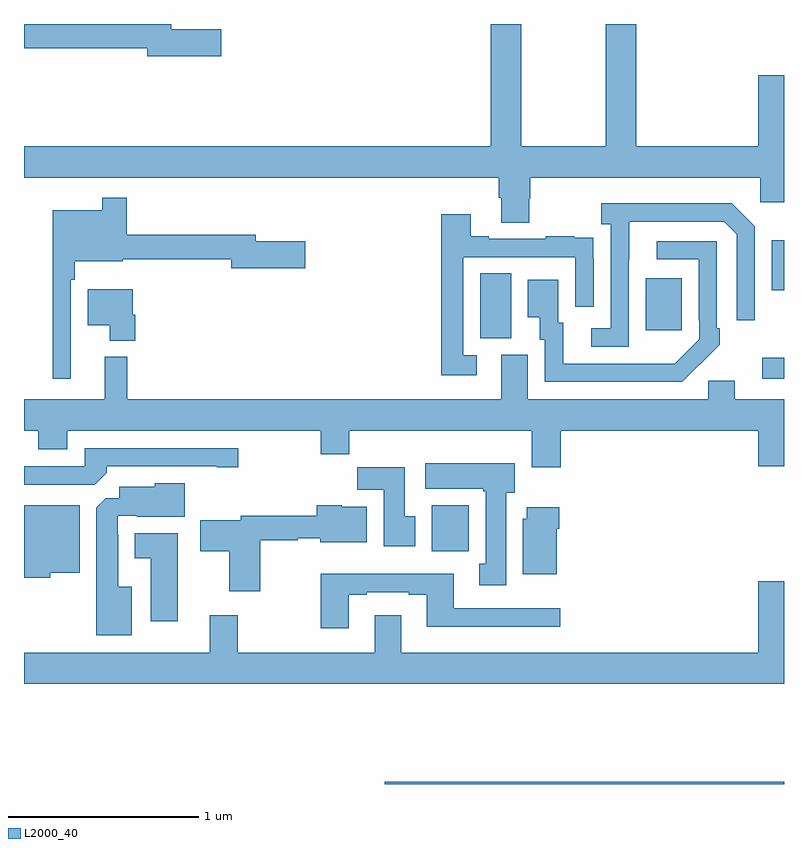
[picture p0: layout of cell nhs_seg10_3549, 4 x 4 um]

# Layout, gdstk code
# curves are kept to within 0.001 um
import gdstk
lib = gdstk.Library(unit=1e-6, precision=1e-09)
def R(c, l, rs):  # rectangles x0, y0, x1, y1
    for r in rs: c.add(gdstk.rectangle(r[:2], r[2:], *l))
def P(c, l, *ps):  # polygons
    for p in ps: c.add(gdstk.Polygon(p, *l))
L2000_40 = (2000, 40)

nhs_seg10_3549 = lib.new_cell('nhs_seg10_3549')
R(nhs_seg10_3549, L2000_40, [(306.899,1254.5,309,1254.512), (307.145,1255.724,307.342,1255.966), (308.886,1256.634,309,1256.743), (307.4,1256.845,307.564,1257.188), (308.273,1256.889,308.461,1257.163), (308.936,1257.098,309,1257.363)])
P(nhs_seg10_3549, L2000_40, [(306.037,1258.472),(305.776,1258.472),(305.776,1258.5),(305,1258.5),(305,1258.372),(305.648,1258.372),(305.648,1258.33),(306.037,1258.33)],
  [(307.659,1257.579),(307.664,1257.579),(307.664,1257.692),(308.874,1257.692),(308.874,1257.561),(309,1257.561),(309,1258.231),(308.864,1258.231),(308.864,1257.856),(308.222,1257.856),(308.222,1258.5),(308.062,1258.5),(308.062,1257.856),(307.617,1257.856),(307.617,1258.5),(307.457,1258.5),(307.457,1257.856),(305,1257.856),(305,1257.692),(307.499,1257.692),(307.499,1257.586),(307.511,1257.586),(307.511,1257.454),(307.659,1257.454)],
  [(305.247,1257.155),(305.267,1257.155),(305.267,1257.251),(305.521,1257.251),(305.521,1257.262),(306.092,1257.262),(306.092,1257.215),(306.481,1257.215),(306.481,1257.357),(306.22,1257.357),(306.22,1257.391),(305.54,1257.391),(305.54,1257.586),(305.412,1257.586),(305.412,1257.52),(305.15,1257.52),(305.15,1256.634),(305.247,1256.634)],
  [(308.184,1257.259),(308.185,1257.459),(308.685,1257.459),(308.751,1257.393),(308.751,1256.94),(308.847,1256.94),(308.847,1257.435),(308.726,1257.556),(308.037,1257.556),(308.037,1257.446),(308.088,1257.446),(308.088,1256.898),(307.986,1256.898),(307.986,1256.802),(308.184,1256.802)],
  [(307.384,1256.757),(307.311,1256.757),(307.311,1257.273),(307.902,1257.273),(307.902,1257.012),(307.998,1257.012),(307.998,1257.266),(307.997,1257.266),(307.997,1257.375),(307.895,1257.375),(307.895,1257.382),(307.747,1257.382),(307.747,1257.369),(307.447,1257.369),(307.447,1257.382),(307.351,1257.382),(307.351,1257.499),(307.195,1257.499),(307.195,1256.652),(307.384,1256.652)],
  [(308.555,1256.707),(308.556,1256.706),(308.661,1256.811),(308.661,1256.899),(308.646,1256.899),(308.646,1257.357),(308.331,1257.357),(308.331,1257.261),(308.55,1257.261),(308.55,1256.941),(308.553,1256.941),(308.553,1256.841),(308.425,1256.713),(307.837,1256.712),(307.837,1256.928),(307.813,1256.928),(307.813,1257.154),(307.652,1257.154),(307.652,1256.957),(307.715,1256.957),(307.715,1256.838),(307.74,1256.838),(307.74,1256.616),(308.464,1256.616)],
  [(305.585,1256.97),(305.572,1256.97),(305.572,1257.103),(305.336,1257.103),(305.336,1256.915),(305.45,1256.915),(305.45,1256.834),(305.585,1256.834)],
  [(307.826,1256.36),(308.864,1256.36),(308.864,1256.172),(309,1256.172),(309,1256.524),(308.74,1256.524),(308.74,1256.622),(308.601,1256.622),(308.601,1256.524),(307.651,1256.524),(307.651,1256.76),(307.511,1256.76),(307.511,1256.524),(305.543,1256.524),(305.543,1256.749),(305.426,1256.749),(305.426,1256.524),(305,1256.524),(305,1256.36),(305.075,1256.36),(305.075,1256.261),(305.227,1256.261),(305.227,1256.36),(306.562,1256.36),(306.562,1256.236),(306.713,1256.236),(306.713,1256.36),(307.673,1256.36),(307.673,1256.166),(307.826,1256.166)],
  [(305.435,1256.138),(305.435,1256.172),(306.014,1256.172),(306.014,1256.167),(306.127,1256.167),(306.127,1256.268),(305.319,1256.268),(305.319,1256.172),(305,1256.172),(305,1256.076),(305.373,1256.076)],
  [(307.537,1256.034),(307.582,1256.034),(307.582,1256.188),(307.113,1256.188),(307.113,1256.054),(307.417,1256.054),(307.417,1256.041),(307.43,1256.041),(307.43,1255.658),(307.397,1255.658),(307.397,1255.545),(307.537,1255.545)],
  [(307.06,1255.908),(307.003,1255.908),(307.003,1256.167),(306.754,1256.167),(306.754,1256.048),(306.893,1256.048),(306.893,1255.752),(307.06,1255.752)],
  [(305.566,1255.537),(305.497,1255.537),(305.497,1255.811),(305.493,1255.811),(305.493,1255.911),(305.593,1255.911),(305.593,1255.907),(305.845,1255.907),(305.845,1256.083),(305.688,1256.083),(305.688,1256.065),(305.501,1256.065),(305.501,1256.004),(305.43,1256.004),(305.381,1255.955),(305.381,1255.283),(305.566,1255.283)],
  [(306.243,1255.783),(306.44,1255.783),(306.44,1255.794),(306.558,1255.794),(306.558,1255.772),(306.805,1255.772),(306.805,1255.96),(306.672,1255.96),(306.672,1255.966),(306.54,1255.966),(306.54,1255.912),(306.141,1255.912),(306.141,1255.888),(305.928,1255.888),(305.928,1255.726),(306.08,1255.726),(306.08,1255.515),(306.243,1255.515)],
  [(305.139,1255.613),(305.293,1255.613),(305.293,1255.966),(305,1255.966),(305,1255.586),(305.139,1255.586)],
  [(307.804,1255.844),(307.817,1255.844),(307.817,1255.957),(307.646,1255.957),(307.646,1255.896),(307.625,1255.896),(307.625,1255.604),(307.804,1255.604)],
  [(305.809,1255.819),(305.582,1255.819),(305.582,1255.688),(305.666,1255.688),(305.666,1255.356),(305.809,1255.356)],
  [(306.709,1255.497),(306.805,1255.497),(306.805,1255.509),(307.025,1255.509),(307.025,1255.497),(307.121,1255.497),(307.121,1255.328),(307.822,1255.328),(307.822,1255.425),(307.261,1255.425),(307.261,1255.606),(306.562,1255.606),(306.562,1255.32),(306.709,1255.32)],
  [(309,1255.567),(308.864,1255.567),(308.864,1255.192),(306.985,1255.192),(306.985,1255.387),(306.845,1255.387),(306.845,1255.192),(306.126,1255.192),(306.126,1255.387),(305.978,1255.387),(305.978,1255.192),(305,1255.192),(305,1255.028),(309,1255.028)])

lib.write_gds('nhs_seg10_3549.gds')
